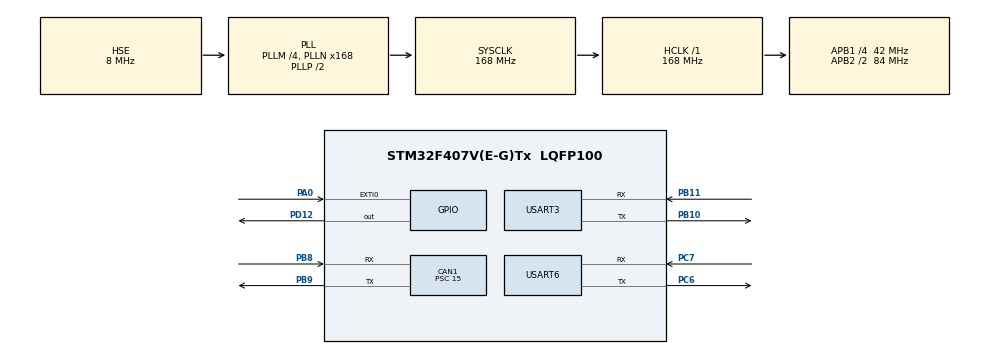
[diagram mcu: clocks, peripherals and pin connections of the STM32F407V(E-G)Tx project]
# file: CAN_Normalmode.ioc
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CAN1.BS1=CAN_BS1_2TQ
CAN1.BS2=CAN_BS2_1TQ
CAN1.CalculateBaudRate=700000
CAN1.CalculateTimeBit=1428
CAN1.CalculateTimeQuantum=357.14285714285717
CAN1.NART=ENABLE
CAN1.Prescaler=15
Mcu.Family=STM32F4
Mcu.Name=STM32F407V(E-G)Tx
Mcu.Package=LQFP100
NVIC.CAN1_RX0_IRQn=true\:0\:0\:false\:false\:true\:true\:true\:true
NVIC.EXTI0_IRQn=true\:0\:0\:false\:false\:true\:true\:true\:true
NVIC.PriorityGroup=NVIC_PRIORITYGROUP_4
NVIC.USART3_IRQn=true\:0\:0\:false\:false\:true\:true\:true\:true
PA0-WKUP.Signal=GPXTI0
PA13.Mode=Serial_Wire
PA13.Signal=SYS_JTMS-SWDIO
PA14.Mode=Serial_Wire
PA14.Signal=SYS_JTCK-SWCLK
PB10.Mode=Asynchronous
PB10.Signal=USART3_TX
PB11.Mode=Asynchronous
PB11.Signal=USART3_RX
PB8.Mode=CAN_Activate
PB8.Signal=CAN1_RX
PB9.Mode=CAN_Activate
PB9.Signal=CAN1_TX
PC6.Mode=Asynchronous
PC6.Signal=USART6_TX
PC7.Mode=Asynchronous
PC7.Signal=USART6_RX
PD12.Signal=GPIO_Output
PH0-OSC_IN.Mode=HSE-External-Clock-Source
PH0-OSC_IN.Signal=RCC_OSC_IN
PH1-OSC_OUT.Mode=HSE-External-Clock-Source
PH1-OSC_OUT.Signal=RCC_OSC_OUT
ProjectManager.HeapSize=0x200
ProjectManager.StackSize=0x400
ProjectManager.TargetToolchain=STM32CubeIDE
RCC.48MHZClocksFreq_Value=84000000
RCC.AHBFreq_Value=168000000
RCC.APB1CLKDivider=RCC_HCLK_DIV4
RCC.APB1Freq_Value=42000000
RCC.APB1TimFreq_Value=84000000
RCC.APB2CLKDivider=RCC_HCLK_DIV2
RCC.APB2Freq_Value=84000000
RCC.APB2TimFreq_Value=168000000
RCC.CortexFreq_Value=168000000
RCC.HCLKFreq_Value=168000000
RCC.HSE_VALUE=8000000
RCC.HSI_VALUE=16000000
RCC.LSE_VALUE=32768
RCC.PLLM=4
RCC.PLLN=168
RCC.PLLSourceVirtual=RCC_PLLSOURCE_HSE
RCC.SYSCLKFreq_VALUE=168000000
RCC.SYSCLKSource=RCC_SYSCLKSOURCE_PLLCLK
RCC.VCOOutputFreq_Value=336000000
USART3.VirtualMode=VM_ASYNC
USART6.VirtualMode=VM_ASYNC
board=custom

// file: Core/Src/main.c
/* USER CODE BEGIN Header */
/**
  ******************************************************************************
  * @file           : main.c
  * @brief          : Main program body
  ******************************************************************************
  * @attention
  *
  * Copyright (c) 2025 STMicroelectronics.
  * All rights reserved.
  *
  * This software is licensed under terms that can be found in the LICENSE file
  * in the root directory of this software component.
  * If no LICENSE file comes with this software, it is provided AS-IS.
  *
  ******************************************************************************
  */
/* USER CODE END Header */
#include "main.h"

CAN_HandleTypeDef hcan1;

UART_HandleTypeDef huart3;
UART_HandleTypeDef huart6;

void SystemClock_Config(void);
static void MX_GPIO_Init(void);
static void MX_CAN1_Init(void);
static void MX_USART3_UART_Init(void);
static void MX_USART6_UART_Init(void);

/* USER CODE BEGIN 0 */
uint8_t rx_char;
char rx_buffer[64];
uint8_t rx_index = 0;
volatile uint8_t cmd_ready = 0;
CAN_TxHeaderTypeDef txHeader;
CAN_RxHeaderTypeDef rxHeader;

uint8_t txData[8];
uint8_t rxData[8];

uint32_t txMailbox;
/* USER CODE END 0 */

int main(void)
{

  /* MCU Configuration--------------------------------------------------------*/

  /* Reset of all peripherals, Initializes the Flash interface and the Systick. */
  HAL_Init();

  /* Configure the system clock */
  SystemClock_Config();

  /* Initialize all configured peripherals */
  MX_GPIO_Init();
  MX_CAN1_Init();
  MX_USART3_UART_Init();
  MX_USART6_UART_Init();
  /* USER CODE BEGIN 2 */
  char banner[] =
  "\r\n=== CAN Test Node ===\r\n"
  "Format:\r\n"
  "send <id_hex> <data|remote> <dlc> <bytes..>\r\n"
  "Example:\r\n"
  "send 123 data 2 AA BB\r\n> ";

  HAL_UART_Transmit(&huart3, (uint8_t*)banner, sizeof(banner)-1, 10);

  //HAL_CAN_Stop(&hcan1);

  HAL_CAN_Start(&hcan1);
  HAL_UART_Receive_IT(&huart3, &rx_char, 1);

    // Activate the notification
    HAL_CAN_ActivateNotification(&hcan1, CAN_IT_RX_FIFO0_MSG_PENDING);

  /* USER CODE END 2 */

  /* Infinite loop */
  while (1)
  {

    /* USER CODE BEGIN 3 */
	  if (cmd_ready)
	  {
	      cmd_ready = 0;

	      char *token = strtok(rx_buffer, " ");
	      if (token && strcmp(token, "send") == 0)
	      {
	          /* ID */
	          token = strtok(NULL, " ");
	          uint32_t id = strtoul(token, NULL, 16);

	          /* RTR */
	          token = strtok(NULL, " ");
	          uint8_t rtr = (strcmp(token, "remote") == 0) ? CAN_RTR_REMOTE : CAN_RTR_DATA;

	          /* DLC */
	          token = strtok(NULL, " ");
	          uint8_t dlc = atoi(token);

	          /* CAN header */
	          txHeader.StdId = id;
	          txHeader.IDE = CAN_ID_STD;
	          txHeader.RTR = rtr;
	          txHeader.DLC = dlc;
	          txHeader.TransmitGlobalTime = DISABLE;

	          /* Data */
	          if (rtr == CAN_RTR_DATA)
	          {
	              for (uint8_t i = 0; i < dlc; i++)
	              {
	                  token = strtok(NULL, " ");
	                  txData[i] = strtoul(token, NULL, 16);
	              }
	          }

	          HAL_CAN_AddTxMessage(&hcan1, &txHeader, txData, &txMailbox);

	          char ack[] = "CAN frame sent\r\n> ";
	          HAL_UART_Transmit(&huart3, (uint8_t*)ack, sizeof(ack)-1, HAL_MAX_DELAY);
	      }
	  }

  }
  /* USER CODE END 3 */
}

void SystemClock_Config(void)
{
  RCC_OscInitTypeDef RCC_OscInitStruct = {0};
  RCC_ClkInitTypeDef RCC_ClkInitStruct = {0};

  /** Configure the main internal regulator output voltage
  */
  __HAL_RCC_PWR_CLK_ENABLE();
  __HAL_PWR_VOLTAGESCALING_CONFIG(PWR_REGULATOR_VOLTAGE_SCALE1);

  /** Initializes the RCC Oscillators according to the specified parameters
  * in the RCC_OscInitTypeDef structure.
  */
  RCC_OscInitStruct.OscillatorType = RCC_OSCILLATORTYPE_HSE;
  RCC_OscInitStruct.HSEState = RCC_HSE_BYPASS;
  RCC_OscInitStruct.PLL.PLLState = RCC_PLL_ON;
  RCC_OscInitStruct.PLL.PLLSource = RCC_PLLSOURCE_HSE;
  RCC_OscInitStruct.PLL.PLLM = 4;
  RCC_OscInitStruct.PLL.PLLN = 168;
  RCC_OscInitStruct.PLL.PLLP = RCC_PLLP_DIV2;
  RCC_OscInitStruct.PLL.PLLQ = 4;
  if (HAL_RCC_OscConfig(&RCC_OscInitStruct) != HAL_OK)
  {
    Error_Handler();
  }

  /** Initializes the CPU, AHB and APB buses clocks
  */
  RCC_ClkInitStruct.ClockType = RCC_CLOCKTYPE_HCLK|RCC_CLOCKTYPE_SYSCLK
                              |RCC_CLOCKTYPE_PCLK1|RCC_CLOCKTYPE_PCLK2;
  RCC_ClkInitStruct.SYSCLKSource = RCC_SYSCLKSOURCE_PLLCLK;
  RCC_ClkInitStruct.AHBCLKDivider = RCC_SYSCLK_DIV1;
  RCC_ClkInitStruct.APB1CLKDivider = RCC_HCLK_DIV4;
  RCC_ClkInitStruct.APB2CLKDivider = RCC_HCLK_DIV2;

  if (HAL_RCC_ClockConfig(&RCC_ClkInitStruct, FLASH_LATENCY_5) != HAL_OK)
  {
    Error_Handler();
  }
}

static void MX_CAN1_Init(void)
{

  hcan1.Instance = CAN1;
  hcan1.Init.Prescaler = 2;
  hcan1.Init.Mode = CAN_MODE_NORMAL;
  hcan1.Init.SyncJumpWidth = CAN_SJW_1TQ;
  hcan1.Init.TimeSeg1 = CAN_BS1_10TQ;
  hcan1.Init.TimeSeg2 = CAN_BS2_5TQ;
  hcan1.Init.TimeTriggeredMode = DISABLE;
  hcan1.Init.AutoBusOff = DISABLE;
  hcan1.Init.AutoWakeUp = DISABLE;
  hcan1.Init.AutoRetransmission = ENABLE;
  hcan1.Init.ReceiveFifoLocked = DISABLE;
  hcan1.Init.TransmitFifoPriority = DISABLE;
  if (HAL_CAN_Init(&hcan1) != HAL_OK)
  {
    Error_Handler();
  }
  /* USER CODE BEGIN CAN1_Init 2 */
  CAN_FilterTypeDef canfilterconfig;

  canfilterconfig.FilterActivation = CAN_FILTER_ENABLE;
  canfilterconfig.FilterBank = 18;  // which filter bank to use from the assigned ones
  canfilterconfig.FilterFIFOAssignment = CAN_FILTER_FIFO0;
  canfilterconfig.FilterIdHigh = 0x000;
  canfilterconfig.FilterIdLow = 0x000;
  canfilterconfig.FilterMaskIdHigh = 0x000;
  canfilterconfig.FilterMaskIdLow = 0x0000;
  canfilterconfig.FilterMode = CAN_FILTERMODE_IDMASK;
  canfilterconfig.FilterScale = CAN_FILTERSCALE_32BIT;
  canfilterconfig.SlaveStartFilterBank = 20;  // how many filters to assign to the CAN1 (master can)

  HAL_CAN_ConfigFilter(&hcan1, &canfilterconfig);
  /* USER CODE END CAN1_Init 2 */

}

static void MX_USART3_UART_Init(void)
{

  huart3.Instance = USART3;
  huart3.Init.BaudRate = 115200;
  huart3.Init.WordLength = UART_WORDLENGTH_8B;
  huart3.Init.StopBits = UART_STOPBITS_1;
  huart3.Init.Parity = UART_PARITY_NONE;
  huart3.Init.Mode = UART_MODE_TX_RX;
  huart3.Init.HwFlowCtl = UART_HWCONTROL_NONE;
  huart3.Init.OverSampling = UART_OVERSAMPLING_16;
  if (HAL_UART_Init(&huart3) != HAL_OK)
  {
    Error_Handler();
  }

}

static void MX_USART6_UART_Init(void)
{

  huart6.Instance = USART6;
  huart6.Init.BaudRate = 115200;
  huart6.Init.WordLength = UART_WORDLENGTH_8B;
  huart6.Init.StopBits = UART_STOPBITS_1;
  huart6.Init.Parity = UART_PARITY_NONE;
  huart6.Init.Mode = UART_MODE_TX_RX;
  huart6.Init.HwFlowCtl = UART_HWCONTROL_NONE;
  huart6.Init.OverSampling = UART_OVERSAMPLING_16;
  if (HAL_UART_Init(&huart6) != HAL_OK)
  {
    Error_Handler();
  }

}

static void MX_GPIO_Init(void)
{
  GPIO_InitTypeDef GPIO_InitStruct = {0};

  /* GPIO Ports Clock Enable */
  __HAL_RCC_GPIOH_CLK_ENABLE();
  __HAL_RCC_GPIOA_CLK_ENABLE();
  __HAL_RCC_GPIOB_CLK_ENABLE();
  __HAL_RCC_GPIOD_CLK_ENABLE();
  __HAL_RCC_GPIOC_CLK_ENABLE();

  /*Configure GPIO pin Output Level */
  HAL_GPIO_WritePin(GPIOD, GPIO_PIN_12, GPIO_PIN_RESET);

  /*Configure GPIO pin : PA0 */
  GPIO_InitStruct.Pin = GPIO_PIN_0;
  GPIO_InitStruct.Mode = GPIO_MODE_IT_RISING;
  GPIO_InitStruct.Pull = GPIO_NOPULL;
  HAL_GPIO_Init(GPIOA, &GPIO_InitStruct);

  /*Configure GPIO pin : PD12 */
  GPIO_InitStruct.Pin = GPIO_PIN_12;
  GPIO_InitStruct.Mode = GPIO_MODE_OUTPUT_PP;
  GPIO_InitStruct.Pull = GPIO_NOPULL;
  GPIO_InitStruct.Speed = GPIO_SPEED_FREQ_LOW;
  HAL_GPIO_Init(GPIOD, &GPIO_InitStruct);

  /* EXTI interrupt init*/
  HAL_NVIC_SetPriority(EXTI0_IRQn, 0, 0);
  HAL_NVIC_EnableIRQ(EXTI0_IRQn);

}

/* USER CODE BEGIN 4 */
void HAL_UART_RxCpltCallback(UART_HandleTypeDef *huart)
{
    if (huart->Instance == USART3)
    {
        if (rx_char == '\r' || rx_char == '\n')
        {
            rx_buffer[rx_index] = '\0';
            rx_index = 0;
            cmd_ready = 1;   // command complete
        }
        else
        {
            if (rx_index < sizeof(rx_buffer) - 1)
            {
                rx_buffer[rx_index++] = rx_char;
            }
        }

        HAL_UART_Receive_IT(&huart3, &rx_char, 1);
    }
}

uint16_t adc_buffer[3];
uint8_t  adc_valid[3] = {0, 0, 0};

void HAL_CAN_RxFifo0MsgPendingCallback(CAN_HandleTypeDef *hcan)
{
    char msg[128];
    char mssg[128];

    HAL_CAN_GetRxMessage(hcan, CAN_RX_FIFO0, &rxHeader, rxData);

    int len = sprintf(msg,
        "\r\n[CAN RX] ID:0x%lX DLC:%d RTR:%s Data:",
        (rxHeader.IDE == CAN_ID_STD) ? rxHeader.StdId : rxHeader.ExtId,
        rxHeader.DLC,
        (rxHeader.RTR == CAN_RTR_DATA) ? "DATA" : "REMOTE"
    );

    for (uint8_t i = 0; i < rxHeader.DLC; i++)
    {
        len += sprintf(&msg[len], "%02X ", rxData[i]);
    }

    len += sprintf(&msg[len], "\r\n> ");
    HAL_UART_Transmit(&huart3, (uint8_t*)msg, len, HAL_MAX_DELAY);

    //pour adc ////////////////////

    int lenadc;
	char adcmsg [127];

	 if (rxHeader.StdId == 0x100 && rxHeader.DLC >= 3)
	    {
	        uint8_t type = rxData[0];
	        uint16_t adc = rxData[1] | (rxData[2] << 8);

	        switch (type)
	        {
	            case 0x61:   // ADC 1
	                adc_buffer[0] = adc;
	                adc_valid[0]  = 1;
	                break;

	            case 0x62:   // ADC 2
	                adc_buffer[1] = adc;
	                adc_valid[1]  = 1;
	                break;

	            case 0x63:   // ADC 3
	                adc_buffer[2] = adc;
	                adc_valid[2]  = 1;
	                break;

	            default:
	                return;
	        }

	        /* Vérifier si les 3 valeurs sont reçues */
	        if (adc_valid[0] && adc_valid[1] && adc_valid[2])
	        {
	            char adcmsg[128];
	            int len;

	            len = sprintf(adcmsg,
	                "%u,%u,%u\r\n",
	                adc_buffer[0],
	                adc_buffer[1],
	                adc_buffer[2]);

	            /* Envoi UART (USART6 / USART7 selon ton projet) */
	            HAL_UART_Transmit(&huart3, (uint8_t*)adcmsg, len, HAL_MAX_DELAY);
	            HAL_UART_Transmit(&huart6, (uint8_t*)adcmsg, len, HAL_MAX_DELAY);
	            // ou huart7 si c’est USART7

	            /* Reset pour la prochaine série */
	            adc_valid[0] = 0;
	            adc_valid[1] = 0;
	            adc_valid[2] = 0;
	        }
	    }

    /////////////////////////////

    ////////pour temp//////////////
    int templen =0;
    if (rxHeader.StdId == 0x681 && rxHeader.DLC == 3)
    {
    	int16_t value = (rxData[1] << 8) | rxData[2];
    	int t = value;
    	templen = sprintf(mssg, "Temp = %d.%d C\r\n", t/10, abs(t%10));
    	//templen += sprintf(&mssg[templen], "\r\n> ");
        //float temp;
        //memcpy(&temp, rxData, sizeof(float));

        //len += sprintf(&msg, " | Temp=%.2f C", temp);
    }
    //////////////////////////////////////
    HAL_UART_Transmit(&huart3, (uint8_t*)mssg, templen, HAL_MAX_DELAY);
    HAL_UART_Transmit(&huart6, (uint8_t*)mssg, templen, HAL_MAX_DELAY);

    /*if (rxHeader.DLC >= 4)
    {
    	uint16_t val = rxData[0] | (rxData[1] << 8); // si 2 octets
    	float f = (float)val;

        memcpy(&f, rxData, sizeof(float));

        //len = sprintf(msg, "Float reçu = %.3f\r\n> ", f);/
    	int int_part = (int)f;
    	int frac_part = (int)((f - int_part) * 1000); // 3 décimales

    	len = sprintf(msg, "Float reçu = %d.%03d\r\n", int_part, frac_part);

        HAL_UART_Transmit(&huart3, (uint8_t*)msg, len, 1000);
        HAL_UART_Transmit(&huart1, (uint8_t*)msg, len,1000);

    }

    else
    {
        // Prompt
        HAL_UART_Transmit(&huart3, (uint8_t*)"> ", 2, HAL_MAX_DELAY);
    }*/

}

/* USER CODE END 4 */

void Error_Handler(void)
{
  __disable_irq();
  while (1)
  {
  }
}
